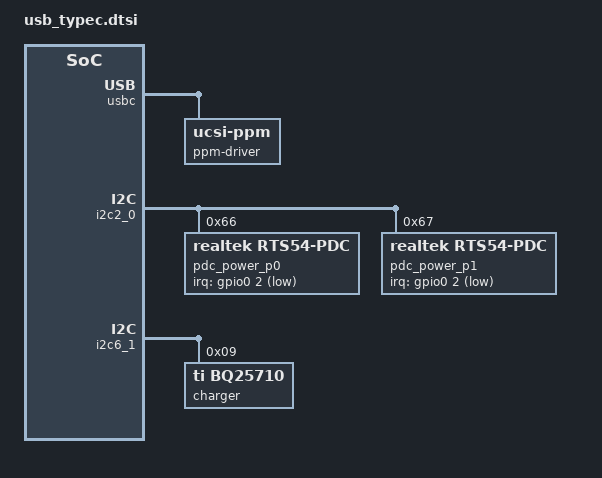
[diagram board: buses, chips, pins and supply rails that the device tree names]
/*
 * Copyright 2024 The ChromiumOS Authors
 *
 * SPDX-License-Identifier: Apache-2.0
 */

#include <usbc-policy.dtsi>

 /{
	usbc {
		#address-cells = <1>;
		#size-cells = <0>;
		usbc_port0: port0@0 {
			compatible = "named-usbc-port";
			reg = <0>;
			chg = <&charger>;
			pdc = <&pdc_power_p0>;
			policy = <&cros_policy>;
		};
		usbc_port1: port0@1 {
			compatible = "named-usbc-port";
			reg = <1>;
			pdc = <&pdc_power_p1>;
			pd-retimer;
			policy = <&cros_policy>;
		};
		ppm-driver {
			compatible = "ucsi-ppm";
			lpm = <&pdc_power_p0 &pdc_power_p1>;
		};
	};
};

&i2c2_0 {
	pdc_power_p0: rts54-pdc@66 {
		compatible = "realtek,rts54-pdc";
		reg = <0x66>;
		irq-gpios = <&gpio0 2 GPIO_ACTIVE_LOW>;
	};
	pdc_power_p1: rts54-pdc@67 {
		compatible = "realtek,rts54-pdc";
		reg = <0x67>;
		irq-gpios = <&gpio0 2 GPIO_ACTIVE_LOW>;
	};
};

&i2c6_1 {
	charger: bq25710@9 {
		compatible = "ti,bq25710";
		status = "okay";
		reg = <0x9>;
	};
};
